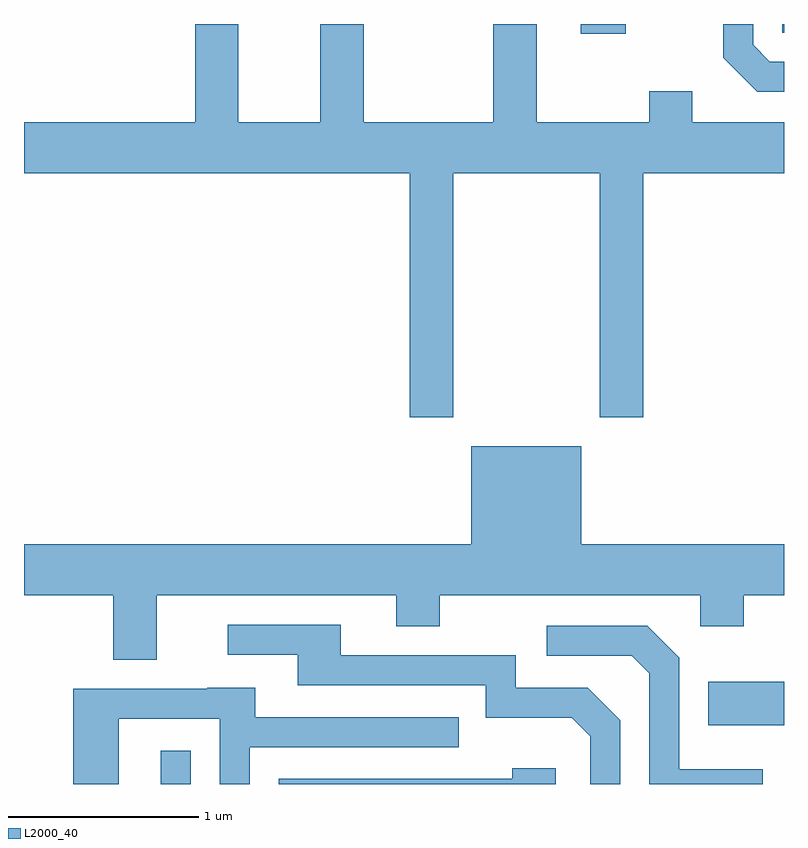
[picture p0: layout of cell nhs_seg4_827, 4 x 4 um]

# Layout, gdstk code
import gdstk
lib = gdstk.Library(unit=1e-6, precision=1e-09)
def R(c, l, rs):  # rectangles x0, y0, x1, y1
    for r in rs: c.add(gdstk.rectangle(r[:2], r[2:], *l))
def P(c, l, *ps):  # polygons
    for p in ps: c.add(gdstk.Polygon(p, *l))
L2000_40 = (2000, 40)

nhs_seg4_827 = lib.new_cell('nhs_seg4_827')
R(nhs_seg4_827, L2000_40, [(210.331,1275.982,210.489,1276.158), (213.211,1276.291,213.611,1276.519), (212.541,1279.931,212.778,1279.982), (213.601,1279.936,213.611,1279.982)])
P(nhs_seg4_827, L2000_40, [(211.869,1279.196),(212.641,1279.196),(212.641,1277.911),(212.869,1277.911),(212.869,1279.196),(213.611,1279.196),(213.611,1279.464),(213.129,1279.464),(213.129,1279.629),(212.901,1279.629),(212.901,1279.464),(212.309,1279.464),(212.309,1279.982),(212.081,1279.982),(212.081,1279.464),(211.399,1279.464),(211.399,1279.982),(211.171,1279.982),(211.171,1279.464),(210.739,1279.464),(210.739,1279.982),(210.511,1279.982),(210.511,1279.464),(209.611,1279.464),(209.611,1279.196),(211.641,1279.196),(211.641,1277.911),(211.869,1277.911)],
  [(213.611,1279.784),(213.537,1279.784),(213.449,1279.872),(213.449,1279.982),(213.291,1279.982),(213.291,1279.804),(213.469,1279.626),(213.611,1279.626)],
  [(210.309,1276.976),(211.571,1276.976),(211.571,1276.811),(211.799,1276.811),(211.799,1276.976),(213.171,1276.976),(213.171,1276.811),(213.399,1276.811),(213.399,1276.976),(213.611,1276.976),(213.611,1277.244),(212.544,1277.244),(212.544,1277.759),(211.966,1277.759),(211.966,1277.244),(209.611,1277.244),(209.611,1276.976),(210.081,1276.976),(210.081,1276.636),(210.309,1276.636)],
  [(212.749,1276.317),(212.577,1276.489),(212.199,1276.489),(212.199,1276.659),(211.279,1276.659),(211.279,1276.819),(210.683,1276.819),(210.683,1276.661),(211.051,1276.661),(211.051,1276.501),(212.041,1276.501),(212.041,1276.331),(212.494,1276.331),(212.591,1276.234),(212.591,1275.982),(212.749,1275.982)],
  [(213.499,1276.059),(213.059,1276.059),(213.059,1276.647),(212.892,1276.814),(212.363,1276.814),(212.363,1276.656),(212.809,1276.656),(212.901,1276.564),(212.901,1275.982),(213.499,1275.982)],
  [(210.109,1276.326),(210.641,1276.326),(210.641,1275.982),(210.799,1275.982),(210.799,1276.176),(211.898,1276.176),(211.898,1276.334),(210.829,1276.334),(210.829,1276.489),(210.575,1276.489),(210.575,1276.484),(209.871,1276.484),(209.871,1275.982),(210.109,1275.982)],
  [(212.409,1276.064),(212.181,1276.064),(212.181,1276.009),(210.951,1276.009),(210.951,1275.982),(212.409,1275.982)])

lib.write_gds('nhs_seg4_827.gds')
